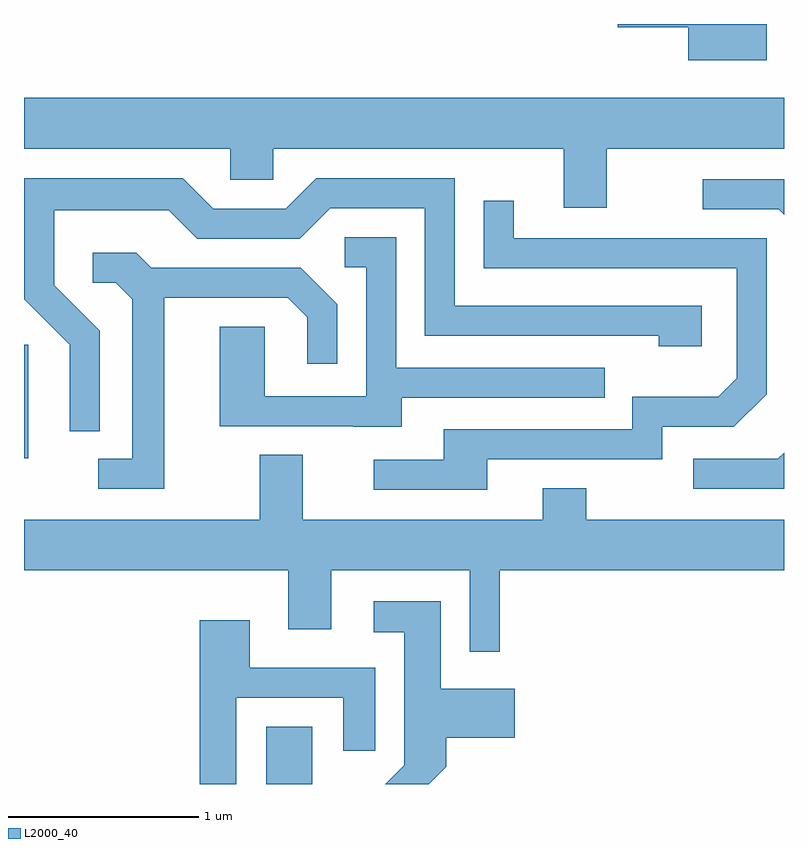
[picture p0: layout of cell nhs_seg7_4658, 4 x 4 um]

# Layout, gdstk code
import gdstk
lib = gdstk.Library(unit=1e-6, precision=1e-09)
def R(c, l, rs):  # rectangles x0, y0, x1, y1
    for r in rs: c.add(gdstk.rectangle(r[:2], r[2:], *l))
def P(c, l, *ps):  # polygons
    for p in ps: c.add(gdstk.Polygon(p, *l))
L2000_40 = (2000, 40)

nhs_seg7_4658 = lib.new_cell('nhs_seg7_4658')
R(nhs_seg7_4658, L2000_40, [(328.886,1764.252,329.129,1764.554), (327.611,1765.966,327.634,1766.564)])
P(nhs_seg7_4658, L2000_40, [(331.519,1768.252),(330.736,1768.252),(330.736,1768.236),(331.106,1768.236),(331.106,1768.061),(331.519,1768.061)],
  [(330.679,1767.596),(331.611,1767.596),(331.611,1767.864),(327.611,1767.864),(327.611,1767.596),(328.696,1767.596),(328.696,1767.431),(328.924,1767.431),(328.924,1767.596),(330.451,1767.596),(330.451,1767.286),(330.679,1767.286)],
  [(328.009,1766.637),(327.769,1766.877),(327.769,1767.271),(328.374,1767.271),(328.524,1767.121),(329.062,1767.121),(329.222,1767.281),(329.721,1767.281),(329.721,1766.611),(330.951,1766.611),(330.951,1766.556),(331.179,1766.556),(331.179,1766.769),(329.879,1766.769),(329.879,1767.439),(329.149,1767.439),(328.989,1767.279),(328.607,1767.279),(328.447,1767.439),(327.611,1767.439),(327.611,1766.804),(327.851,1766.564),(327.851,1766.108),(328.009,1766.108)],
  [(331.611,1767.434),(331.183,1767.434),(331.183,1767.276),(331.584,1767.276),(331.611,1767.249)],
  [(330.049,1765.961),(330.969,1765.961),(330.969,1766.131),(331.347,1766.131),(331.519,1766.304),(331.519,1767.124),(330.189,1767.124),(330.189,1767.323),(330.031,1767.323),(330.031,1766.966),(331.361,1766.966),(331.361,1766.387),(331.264,1766.289),(330.811,1766.289),(330.811,1766.119),(329.821,1766.119),(329.821,1765.959),(329.453,1765.959),(329.453,1765.801),(330.049,1765.801)],
  [(329.599,1766.286),(330.668,1766.286),(330.668,1766.444),(329.569,1766.444),(329.569,1767.129),(329.298,1767.129),(329.298,1766.971),(329.411,1766.971),(329.411,1766.294),(328.879,1766.294),(328.879,1766.659),(328.641,1766.659),(328.641,1766.136),(329.345,1766.136),(329.345,1766.131),(329.599,1766.131)],
  [(328.349,1766.811),(328.999,1766.811),(329.101,1766.709),(329.101,1766.463),(329.259,1766.463),(329.259,1766.777),(329.067,1766.969),(328.282,1766.969),(328.202,1767.049),(327.973,1767.049),(327.973,1766.891),(328.094,1766.891),(328.181,1766.804),(328.181,1765.964),(328.003,1765.964),(328.003,1765.806),(328.349,1765.806)],
  [(331.611,1765.996),(331.579,1765.964),(331.133,1765.964),(331.133,1765.806),(331.611,1765.806)],
  [(330.114,1765.376),(331.611,1765.376),(331.611,1765.644),(330.569,1765.644),(330.569,1765.809),(330.341,1765.809),(330.341,1765.644),(329.079,1765.644),(329.079,1765.984),(328.851,1765.984),(328.851,1765.644),(327.611,1765.644),(327.611,1765.376),(329.001,1765.376),(329.001,1765.066),(329.229,1765.066),(329.229,1765.376),(329.956,1765.376),(329.956,1764.948),(330.114,1764.948)],
  [(329.834,1764.344),(329.834,1764.496),(330.194,1764.496),(330.194,1764.754),(329.804,1764.754),(329.804,1765.214),(329.453,1765.214),(329.453,1765.051),(329.611,1765.051),(329.611,1764.352),(329.511,1764.252),(329.742,1764.252)],
  [(328.729,1764.706),(329.291,1764.706),(329.291,1764.428),(329.459,1764.428),(329.459,1764.864),(328.799,1764.864),(328.799,1765.114),(328.536,1765.114),(328.536,1764.252),(328.729,1764.252)])

lib.write_gds('nhs_seg7_4658.gds')
